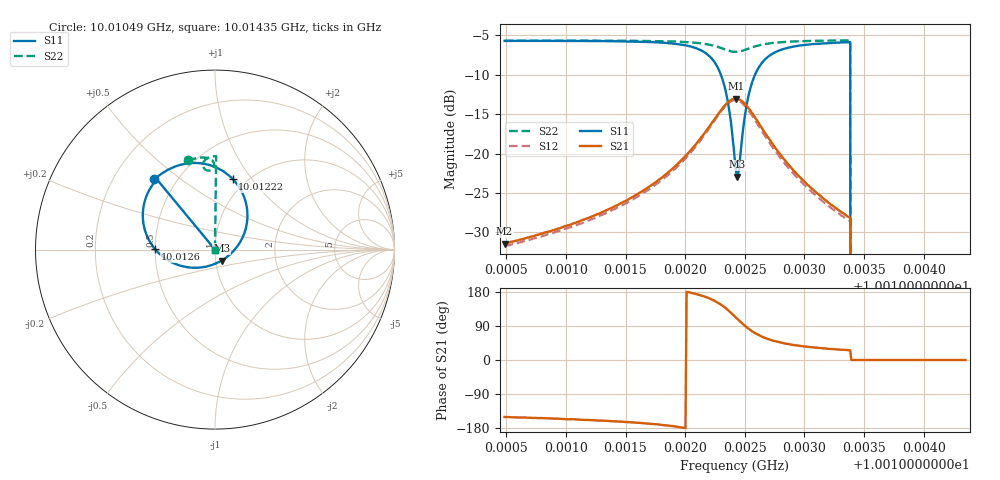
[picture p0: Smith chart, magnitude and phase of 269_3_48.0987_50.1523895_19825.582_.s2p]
#  HZ  S  RI  R  50.00
! Rohde & Schwarz Vector Network Analyzer
! Rohde-Schwarz,ZNB20-2Port,1311601062101988,3.16
! Created: UTC 12/23/2023, 4:01:35 AM
! freq[Hz]  re:S11  im:S11  re:S21  im:S21  re:S12  im:S12  re:S22  im:S22
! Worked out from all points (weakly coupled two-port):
!   401 points, 10.01049 GHz to 10.01435 GHz, reference 50 ohm
!   highest |S21| = -13.04 dB at 10.01243 GHz (marker M1); lowest = -31.4 dB at 10.01049 GHz (marker M2)
!   lowest |S11| = -22.9 dB at 10.01244 GHz (marker M3), VSWR 1.15, Z = 53.4 - j6.54 ohm
!   |S11| at or under -10 dB: 10.0123 GHz to 10.01259 GHz (286.8 kHz wide, 0.00286 % of centre); 10.01338 GHz to end of sweep
!   |S22| runs from - to -5.7 dB; largest |S21 - S12| = 0.01
!   S11 on the Smith chart (normalised r, x): 10.01049 GHz: 0.38, +0.40; 10.01222 GHz: 0.86, +0.81; 10.0126 GHz: 0.50, +0.00; 10.01435 GHz: 1.00, +0.00
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1.0010486e10  -0.3375 0.3925  -0.0233 -0.0133  -0.0218 -0.0139  -0.1519 0.4967
1.0011133e10  -0.2807 0.4341  -0.0349 -0.0143  -0.0327 -0.0154  -0.1083 0.5081
1.001178e10  -0.1653 0.4783  -0.0673 -0.0114  -0.0642 -0.0145  -0.0571 0.5127
1.0012061e10  -0.0358 0.4726  -0.1074 0.00646  -0.1042 0.000512  -0.0271 0.5054
1.0012215e10  0.0981 0.394  -0.1445 0.05  -0.1434 0.041  -0.00841 0.4876
1.0012283e10  0.1599 0.2987  -0.1557 0.0916  -0.1567 0.0818  -0.00447 0.4722
1.0012341e10  0.1802 0.1699  -0.149 0.1405  -0.1522 0.1311  -0.00853 0.4556
1.0012379e10  0.1536 0.0673  -0.1276 0.1756  -0.1321 0.1674  -0.0175 0.4457
1.0012418e10  0.0845 -0.0263  -0.0921 0.2028  -0.0977 0.1951  -0.0308 0.4402
1.0012428e10  0.0623 -0.0443  -0.082 0.2072  -0.0878 0.1997  -0.0343 0.4399
1.0012437e10  0.037 -0.0609  -0.0712 0.2106  -0.0765 0.2036  -0.0382 0.4399
1.0012457e10  -0.0155 -0.0852  -0.05 0.2141  -0.0542 0.2076  -0.045 0.4414
1.0012495e10  -0.1273 -0.1009  -0.0069 0.2088  -0.0125 0.2025  -0.0569 0.4487
1.0012524e10  -0.2008 -0.0871  0.0196 0.1966  0.0137 0.1903  -0.0627 0.4562
1.0012601e10  -0.3351 0.00426  0.0601 0.1508  0.0533 0.1465  -0.0664 0.477
1.0012688e10  -0.3915 0.1117  0.0721 0.1066  0.065 0.1043  -0.06 0.4937
1.0012804e10  -0.4015 0.214  0.0678 0.0696  0.062 0.0687  -0.047 0.5063
1.0013065e10  -0.3676 0.3296  0.0498 0.033  0.0458 0.0335  -0.0205 0.5172
1.0013364e10  -0.3265 0.389  0.0358 0.0174  0.0332 0.0184  0.00484 0.521
1.0013413e10  0 0  0 0  0 0  0 0
1.0013712e10  0 0  0 0  0 0  0 0
1.001435e10  0 0  0 0  0 0  0 0
